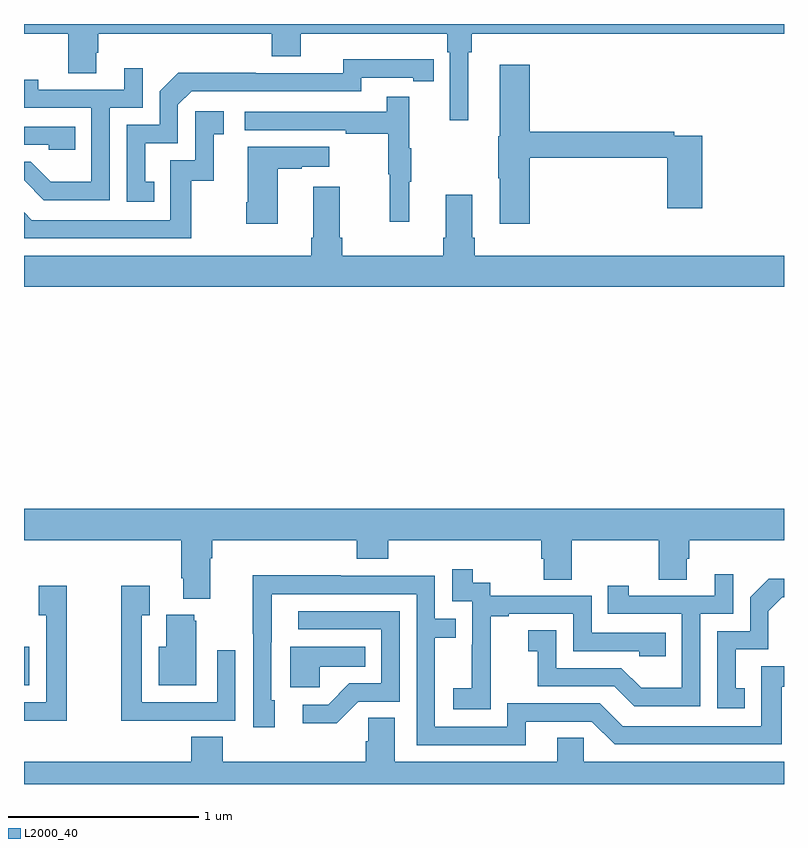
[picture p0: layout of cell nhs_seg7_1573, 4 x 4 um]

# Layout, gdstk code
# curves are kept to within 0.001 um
import gdstk
lib = gdstk.Library(unit=1e-6, precision=1e-09)
def R(c, l, rs):  # rectangles x0, y0, x1, y1
    for r in rs: c.add(gdstk.rectangle(r[:2], r[2:], *l))
def P(c, l, *ps):  # polygons
    for p in ps: c.add(gdstk.Polygon(p, *l))
L2000_40 = (2000, 40)

nhs_seg7_1573 = lib.new_cell('nhs_seg7_1573')
R(nhs_seg7_1573, L2000_40, [(219,998.519,219.028,998.722)])
P(nhs_seg7_1573, L2000_40, [(223,1002),(219,1002),(219,1001.948),(219.232,1001.948),(219.232,1001.74),(219.379,1001.74),(219.379,1001.85),(219.392,1001.85),(219.392,1001.948),(220.304,1001.948),(220.304,1001.831),(220.456,1001.831),(220.456,1001.948),(221.228,1001.948),(221.228,1001.852),(221.241,1001.852),(221.241,1001.493),(221.338,1001.493),(221.338,1001.852),(221.357,1001.852),(221.357,1001.948),(223,1001.948)],
  [(219.686,1001.169),(219.637,1001.169),(219.637,1001.373),(219.81,1001.373),(219.81,1001.574),(219.882,1001.646),(220.776,1001.646),(220.776,1001.718),(221.048,1001.718),(221.048,1001.698),(221.156,1001.698),(221.156,1001.814),(220.68,1001.815),(220.68,1001.742),(220.22,1001.742),(220.22,1001.744),(219.812,1001.744),(219.714,1001.646),(219.714,1001.469),(219.54,1001.469),(219.54,1001.064),(219.686,1001.064)],
  [(221.663,1001.296),(222.386,1001.296),(222.386,1001.031),(222.569,1001.031),(222.569,1001.412),(222.422,1001.412),(222.422,1001.432),(221.663,1001.432),(221.663,1001.785),(221.504,1001.785),(221.504,1001.409),(221.497,1001.409),(221.497,1001.188),(221.504,1001.188),(221.504,1000.95),(221.663,1000.95)],
  [(219.45,1001.559),(219.624,1001.559),(219.624,1001.767),(219.527,1001.767),(219.527,1001.655),(219.076,1001.655),(219.076,1001.707),(219,1001.707),(219,1001.559),(219.354,1001.559),(219.354,1001.17),(219.14,1001.17),(219.036,1001.274),(219,1001.274),(219,1001.177),(219.104,1001.073),(219.45,1001.073)],
  [(221.027,1001.171),(221.038,1001.171),(221.038,1001.345),(221.027,1001.345),(221.027,1001.617),(220.909,1001.617),(220.909,1001.538),(220.161,1001.538),(220.161,1001.442),(220.693,1001.442),(220.693,1001.422),(220.917,1001.422),(220.917,1001.208),(220.924,1001.208),(220.924,1000.959),(221.027,1000.959)],
  [(219.88,1001.175),(219.998,1001.175),(219.998,1001.421),(220.051,1001.421),(220.051,1001.542),(219.9,1001.542),(219.9,1001.283),(219.771,1001.283),(219.771,1000.968),(219.042,1000.968),(219,1001.01),(219,1000.872),(219.88,1000.872)],
  [(219.269,1001.46),(219,1001.46),(219,1001.364),(219.129,1001.364),(219.129,1001.337),(219.269,1001.337)],
  [(220.336,1001.239),(220.463,1001.239),(220.463,1001.249),(220.606,1001.249),(220.606,1001.353),(220.178,1001.353),(220.178,1001.062),(220.171,1001.062),(220.171,1000.95),(220.336,1000.95)],
  [(223,1000.78),(221.372,1000.78),(221.372,1000.876),(221.359,1000.876),(221.359,1001.101),(221.219,1001.101),(221.219,1000.876),(221.207,1000.876),(221.207,1000.78),(220.676,1000.78),(220.676,1000.876),(220.663,1000.876),(220.663,1001.143),(220.523,1001.143),(220.523,1000.876),(220.511,1000.876),(220.511,1000.78),(219,1000.78),(219,1000.616),(223,1000.616)],
  [(219.979,999.188),(219.992,999.188),(219.992,999.284),(220.751,999.284),(220.751,999.185),(220.916,999.185),(220.916,999.284),(221.723,999.284),(221.723,999.186),(221.735,999.186),(221.735,999.076),(221.883,999.076),(221.883,999.284),(222.34,999.284),(222.34,999.076),(222.487,999.076),(222.487,999.186),(222.5,999.186),(222.5,999.284),(223,999.284),(223,999.448),(219,999.448),(219,999.284),(219.827,999.284),(219.827,999.082),(219.839,999.082),(219.839,998.975),(219.979,998.975)],
  [(221.457,998.599),(221.456,998.599),(221.456,998.883),(221.551,998.883),(221.551,998.895),(221.892,998.895),(221.892,998.7),(222.237,998.7),(222.237,998.673),(222.377,998.673),(222.377,998.796),(221.988,998.796),(221.988,998.991),(221.454,998.991),(221.454,999.06),(221.362,999.06),(221.362,999.13),(221.253,999.13),(221.253,998.961),(221.358,998.961),(221.358,998.732),(221.357,998.732),(221.357,998.503),(221.259,998.503),(221.259,998.393),(221.457,998.393)],
  [(222.558,998.895),(222.732,998.895),(222.732,999.103),(222.635,999.103),(222.635,998.991),(222.184,998.991),(222.184,999.043),(222.073,999.043),(222.073,998.895),(222.462,998.895),(222.462,998.506),(222.248,998.506),(222.144,998.61),(221.802,998.61),(221.802,998.809),(221.655,998.809),(221.655,998.699),(221.704,998.699),(221.704,998.514),(222.107,998.514),(222.212,998.409),(222.558,998.409)],
  [(221.641,998.328),(221.988,998.328),(222.108,998.208),(222.988,998.208),(222.988,998.511),(223,998.511),(223,998.619),(222.879,998.619),(222.879,998.304),(222.15,998.304),(222.03,998.424),(221.544,998.424),(221.544,998.301),(221.163,998.301),(221.163,998.77),(221.273,998.77),(221.273,998.871),(221.163,998.871),(221.163,999.096),(220.667,999.096),(220.667,999.098),(220.204,999.098),(220.204,998.791),(220.206,998.791),(220.206,998.298),(220.321,998.298),(220.321,998.442),(220.302,998.442),(220.303,999),(221.067,999),(221.067,998.205),(221.641,998.205)],
  [(222.794,998.505),(222.745,998.505),(222.745,998.709),(222.918,998.709),(222.918,998.91),(222.99,998.982),(223,998.982),(223,999.08),(222.92,999.08),(222.822,998.982),(222.822,998.805),(222.648,998.805),(222.648,998.4),(222.794,998.4)],
  [(219.226,999.043),(219.077,999.043),(219.077,998.887),(219.117,998.887),(219.117,998.43),(219,998.43),(219,998.333),(219.226,998.333)],
  [(219.797,998.334),(220.113,998.334),(220.113,998.704),(220.017,998.704),(220.017,998.43),(219.621,998.43),(219.621,998.887),(219.661,998.887),(219.661,999.043),(219.513,999.043),(219.513,998.333),(219.797,998.333)],
  [(220.758,998.433),(220.977,998.433),(220.977,998.91),(220.443,998.91),(220.443,998.814),(220.881,998.814),(220.881,998.529),(220.712,998.529),(220.601,998.418),(220.467,998.418),(220.467,998.321),(220.645,998.321)],
  [(219.907,998.859),(219.896,998.859),(219.896,998.89),(219.749,998.89),(219.749,998.722),(219.71,998.722),(219.71,998.519),(219.907,998.519)],
  [(220.557,998.618),(220.796,998.618),(220.796,998.722),(220.4,998.722),(220.4,998.51),(220.557,998.51)],
  [(223,998.116),(221.946,998.116),(221.946,998.243),(221.807,998.243),(221.807,998.116),(220.951,998.116),(220.951,998.348),(220.812,998.348),(220.812,998.225),(220.799,998.225),(220.799,998.116),(220.046,998.116),(220.046,998.249),(219.881,998.249),(219.881,998.116),(219,998.116),(219,998),(223,998)])

lib.write_gds('nhs_seg7_1573.gds')
